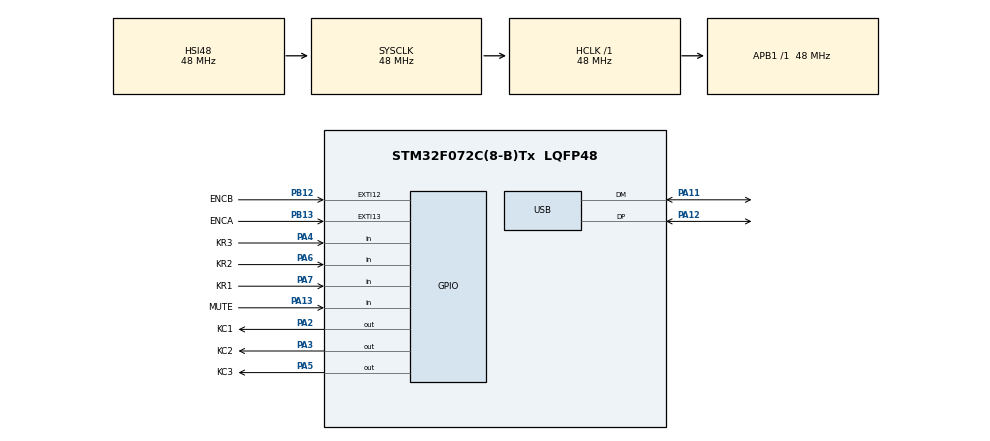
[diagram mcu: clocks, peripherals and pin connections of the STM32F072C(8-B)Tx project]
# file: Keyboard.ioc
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Mcu.Family=STM32F0
Mcu.Name=STM32F072C(8-B)Tx
Mcu.Package=LQFP48
NVIC.EXTI4_15_IRQn=true\:0\:0\:false\:false\:true\:true\:true\:true
NVIC.TIM2_IRQn=true\:0\:0\:false\:false\:true\:true\:true\:true
NVIC.USB_IRQn=true\:0\:0\:false\:false\:true\:false\:true\:true
PA11.Mode=Device
PA11.Signal=USB_DM
PA12.Mode=Device
PA12.Signal=USB_DP
PA13.GPIO_Label=MUTE
PA13.GPIO_PuPd=GPIO_PULLUP
PA13.Signal=GPIO_Input
PA2.GPIO_Label=KC1
PA2.Signal=GPIO_Output
PA3.GPIO_Label=KC2
PA3.Signal=GPIO_Output
PA4.GPIO_Label=KR3
PA4.GPIO_PuPd=GPIO_PULLDOWN
PA4.Signal=GPIO_Input
PA5.GPIO_Label=KC3
PA5.Signal=GPIO_Output
PA6.GPIO_Label=KR2
PA6.GPIO_PuPd=GPIO_PULLDOWN
PA6.Signal=GPIO_Input
PA7.GPIO_Label=KR1
PA7.GPIO_PuPd=GPIO_PULLDOWN
PA7.Signal=GPIO_Input
PB12.GPIO_Label=ENCB
PB12.GPIO_ModeDefaultEXTI=GPIO_MODE_IT_RISING_FALLING
PB12.GPIO_PuPd=GPIO_PULLUP
PB12.Signal=GPXTI12
PB13.GPIO_Label=ENCA
PB13.GPIO_ModeDefaultEXTI=GPIO_MODE_IT_RISING_FALLING
PB13.GPIO_PuPd=GPIO_PULLUP
PB13.Signal=GPXTI13
ProjectManager.HeapSize=0x200
ProjectManager.StackSize=0x400
ProjectManager.TargetToolchain=STM32CubeIDE
RCC.AHBFreq_Value=48000000
RCC.APB1Freq_Value=48000000
RCC.APB1TimFreq_Value=48000000
RCC.HCLKFreq_Value=48000000
RCC.SYSCLKFreq_VALUE=48000000
RCC.SYSCLKSource=RCC_SYSCLKSOURCE_HSI48
TIM2.AutoReloadPreload=TIM_AUTORELOAD_PRELOAD_DISABLE
TIM2.Period=99
TIM2.Prescaler=59
USB_DEVICE.CLASS_NAME_FS=HID
USB_DEVICE.PRODUCT_STRING_HID_FS=STM32 Keyboard
USB_DEVICE.VirtualMode=Hid
USB_DEVICE.VirtualModeFS=Hid_FS
VP_TIM2_VS_ClockSourceINT.Mode=Internal
VP_USB_DEVICE_VS_USB_DEVICE_HID_FS.Mode=HID_FS
board=custom

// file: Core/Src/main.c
/* USER CODE BEGIN Header */
/**
  ******************************************************************************
  * @file           : main.c
  * @brief          : Main program body
  ******************************************************************************
  * @attention
  *
  * Copyright (c) 2025 STMicroelectronics.
  * All rights reserved.
  *
  * This software is licensed under terms that can be found in the LICENSE file
  * in the root directory of this software component.
  * If no LICENSE file comes with this software, it is provided AS-IS.
  *
  ******************************************************************************
  */
/* USER CODE END Header */
#include "main.h"
#include "usb_device.h"

/* USER CODE BEGIN Includes */
#include "usbd_hid.h"

/* USER CODE END Includes */

/* USER CODE BEGIN PD */
// HID Keyboard usage IDs (normal keys)
#define KBD_INSERT   	0x49
#define KBD_HOME     	0x4A
#define KBD_PGUP     	0x4B
#define KBD_DELETE   	0x4C
#define KBD_END      	0x4D
#define KBD_PGDOWN  	0x4E

// HID Consumer usage IDs (media keys)
#define CONS_SCAN_NEXT   	0xB5  // Next Track
#define CONS_SCAN_PREV   	0xB6  // Previous Track
#define CONS_PLAY_PAUSE  	0xCD  // Play/Pause
#define CONS_STOP        	0xB7  // Stop
#define CONS_MUTE			0xE2
#define CONS_VOLUME_UP		0xE9
#define CONS_VOLUME_DOWN	0xEA

/* USER CODE END PD */

/* USER CODE BEGIN PM */
void scan_keys();

/* USER CODE END PM */

TIM_HandleTypeDef htim2;

/* USER CODE BEGIN PV */
volatile int8_t encoder_direction = 0; // +1 = CW, -1 = CCW
volatile int8_t last_encoder_state = 0;
/* USER CODE END PV */

void SystemClock_Config(void);
static void MX_GPIO_Init(void);
static void MX_TIM2_Init(void);

/* USER CODE BEGIN 0 */
extern USBD_HandleTypeDef hUsbDeviceFS;

uint8_t keyboardhid[9] = {0};   // Report ID + 8 bytes
uint8_t consumerhid[3] = {0};   // Report ID + 2 bytes

// Keyboard keys (Report ID 1)
const uint8_t keymap_kbd[2][3] = {
    {KBD_INSERT, KBD_HOME, KBD_PGUP},   // Row 2
    {KBD_DELETE, KBD_END,  KBD_PGDOWN}  // Row 3
};

// Consumer keys (Report ID 2)
const uint16_t keymap_cons[1][3] = {
    {CONS_SCAN_PREV, CONS_PLAY_PAUSE, CONS_SCAN_NEXT}  // Row 1
};

/* USER CODE END 0 */

int main(void)
{

  /* MCU Configuration--------------------------------------------------------*/

  /* Reset of all peripherals, Initializes the Flash interface and the Systick. */
  HAL_Init();

  /* Configure the system clock */
  SystemClock_Config();

  /* Initialize all configured peripherals */
  MX_GPIO_Init();
  MX_TIM2_Init();
  MX_USB_DEVICE_Init();

  /* Infinite loop */
  while (1)
  {

    /* USER CODE BEGIN 3 */
	scan_keys();
	HAL_Delay(50);
  }
  /* USER CODE END 3 */
}

void SystemClock_Config(void)
{
  RCC_OscInitTypeDef RCC_OscInitStruct = {0};
  RCC_ClkInitTypeDef RCC_ClkInitStruct = {0};
  RCC_PeriphCLKInitTypeDef PeriphClkInit = {0};

  /** Initializes the RCC Oscillators according to the specified parameters
  * in the RCC_OscInitTypeDef structure.
  */
  RCC_OscInitStruct.OscillatorType = RCC_OSCILLATORTYPE_HSI48;
  RCC_OscInitStruct.HSI48State = RCC_HSI48_ON;
  RCC_OscInitStruct.PLL.PLLState = RCC_PLL_NONE;
  if (HAL_RCC_OscConfig(&RCC_OscInitStruct) != HAL_OK)
  {
    Error_Handler();
  }

  /** Initializes the CPU, AHB and APB buses clocks
  */
  RCC_ClkInitStruct.ClockType = RCC_CLOCKTYPE_HCLK|RCC_CLOCKTYPE_SYSCLK
                              |RCC_CLOCKTYPE_PCLK1;
  RCC_ClkInitStruct.SYSCLKSource = RCC_SYSCLKSOURCE_HSI48;
  RCC_ClkInitStruct.AHBCLKDivider = RCC_SYSCLK_DIV1;
  RCC_ClkInitStruct.APB1CLKDivider = RCC_HCLK_DIV1;

  if (HAL_RCC_ClockConfig(&RCC_ClkInitStruct, FLASH_LATENCY_1) != HAL_OK)
  {
    Error_Handler();
  }
  PeriphClkInit.PeriphClockSelection = RCC_PERIPHCLK_USB;
  PeriphClkInit.UsbClockSelection = RCC_USBCLKSOURCE_HSI48;

  if (HAL_RCCEx_PeriphCLKConfig(&PeriphClkInit) != HAL_OK)
  {
    Error_Handler();
  }
}

static void MX_TIM2_Init(void)
{

  TIM_ClockConfigTypeDef sClockSourceConfig = {0};
  TIM_MasterConfigTypeDef sMasterConfig = {0};

  htim2.Instance = TIM2;
  htim2.Init.Prescaler = 59;
  htim2.Init.CounterMode = TIM_COUNTERMODE_UP;
  htim2.Init.Period = 99;
  htim2.Init.ClockDivision = TIM_CLOCKDIVISION_DIV1;
  htim2.Init.AutoReloadPreload = TIM_AUTORELOAD_PRELOAD_DISABLE;
  if (HAL_TIM_Base_Init(&htim2) != HAL_OK)
  {
    Error_Handler();
  }
  sClockSourceConfig.ClockSource = TIM_CLOCKSOURCE_INTERNAL;
  if (HAL_TIM_ConfigClockSource(&htim2, &sClockSourceConfig) != HAL_OK)
  {
    Error_Handler();
  }
  sMasterConfig.MasterOutputTrigger = TIM_TRGO_RESET;
  sMasterConfig.MasterSlaveMode = TIM_MASTERSLAVEMODE_DISABLE;
  if (HAL_TIMEx_MasterConfigSynchronization(&htim2, &sMasterConfig) != HAL_OK)
  {
    Error_Handler();
  }

}

static void MX_GPIO_Init(void)
{
  GPIO_InitTypeDef GPIO_InitStruct = {0};

  /* GPIO Ports Clock Enable */
  __HAL_RCC_GPIOA_CLK_ENABLE();
  __HAL_RCC_GPIOB_CLK_ENABLE();

  /*Configure GPIO pin Output Level */
  HAL_GPIO_WritePin(GPIOA, KC1_Pin|KC2_Pin|KC3_Pin, GPIO_PIN_RESET);

  /*Configure GPIO pins : KC1_Pin KC2_Pin KC3_Pin */
  GPIO_InitStruct.Pin = KC1_Pin|KC2_Pin|KC3_Pin;
  GPIO_InitStruct.Mode = GPIO_MODE_OUTPUT_PP;
  GPIO_InitStruct.Pull = GPIO_NOPULL;
  GPIO_InitStruct.Speed = GPIO_SPEED_FREQ_LOW;
  HAL_GPIO_Init(GPIOA, &GPIO_InitStruct);

  /*Configure GPIO pins : KR3_Pin KR2_Pin KR1_Pin */
  GPIO_InitStruct.Pin = KR3_Pin|KR2_Pin|KR1_Pin;
  GPIO_InitStruct.Mode = GPIO_MODE_INPUT;
  GPIO_InitStruct.Pull = GPIO_PULLDOWN;
  HAL_GPIO_Init(GPIOA, &GPIO_InitStruct);

  /*Configure GPIO pin : ENCB_Pin */
  GPIO_InitStruct.Pin = ENCB_Pin;
  GPIO_InitStruct.Mode = GPIO_MODE_IT_RISING_FALLING;
  GPIO_InitStruct.Pull = GPIO_PULLUP;
  HAL_GPIO_Init(ENCB_GPIO_Port, &GPIO_InitStruct);

  /*Configure GPIO pin : ENCA_Pin */
  GPIO_InitStruct.Pin = ENCA_Pin;
  GPIO_InitStruct.Mode = GPIO_MODE_IT_RISING_FALLING;
  GPIO_InitStruct.Pull = GPIO_PULLUP;
  HAL_GPIO_Init(ENCA_GPIO_Port, &GPIO_InitStruct);

  /*Configure GPIO pin : MUTE_Pin */
  GPIO_InitStruct.Pin = MUTE_Pin;
  GPIO_InitStruct.Mode = GPIO_MODE_INPUT;
  GPIO_InitStruct.Pull = GPIO_PULLUP;
  HAL_GPIO_Init(MUTE_GPIO_Port, &GPIO_InitStruct);

  /* EXTI interrupt init*/
  HAL_NVIC_SetPriority(EXTI4_15_IRQn, 0, 0);
  HAL_NVIC_EnableIRQ(EXTI4_15_IRQn);

}

/* USER CODE BEGIN 4 */

void send_consumer(uint16_t key) {
    consumerhid[0] = 0x02;           // Report ID for Consumer
    consumerhid[1] = key & 0xFF;
    consumerhid[2] = (key >> 8) & 0xFF;
    USBD_HID_SendReport(&hUsbDeviceFS, consumerhid, sizeof(consumerhid));
    HAL_Delay(1);
    memset(consumerhid, 0, sizeof(consumerhid));
    USBD_HID_SendReport(&hUsbDeviceFS, consumerhid, sizeof(consumerhid));
}

void HAL_GPIO_EXTI_Callback(uint16_t GPIO_Pin) {
    // Read both pins on any interrupt
    uint8_t a = HAL_GPIO_ReadPin(ENCA_GPIO_Port, ENCA_Pin);
    uint8_t b = HAL_GPIO_ReadPin(ENCB_GPIO_Port, ENCB_Pin);

    static uint8_t last_state = 0;
    uint8_t current_state = (a << 1) | b;
    int8_t movement = 0;

    // Quadrature decoding (4-bit transition)
    switch ((last_state << 2) | current_state) {
        case 0b0001:
        case 0b0111:
        case 0b1110:
        case 0b1000:
            movement = 1;  // Clockwise
            break;

        case 0b0010:
        case 0b1011:
        case 0b1101:
        case 0b0100:
            movement = -1; // Counter-clockwise
            break;

        default:
            movement = 0;  // No valid movement
            break;
    }

    encoder_direction += movement;  // Accumulate steps
    last_state = current_state;
}

void scan_keys(void)
{
    // Default = Report ID 1
    keyboardhid[0] = 0x01;
    keyboardhid[1] = 0x00; // Modifiers
    keyboardhid[2] = 0x00; // Reserved
    uint8_t kbd_count = 3;

    if (HAL_GPIO_ReadPin(GPIOA, MUTE_Pin) == GPIO_PIN_SET){
        consumerhid[0] = 0x02;                   // Report ID
        consumerhid[1] = CONS_MUTE & 0xFF;
        consumerhid[2] = (CONS_MUTE >> 8) & 0xFF;
        USBD_HID_SendReport(&hUsbDeviceFS, consumerhid, sizeof(consumerhid));
        HAL_Delay(1);
        memset(consumerhid, 0, sizeof(consumerhid));
        USBD_HID_SendReport(&hUsbDeviceFS, consumerhid, sizeof(consumerhid));
    }

    for (uint8_t col = 0; col < 3; ++col) {
        HAL_GPIO_WritePin(GPIOA, KC1_Pin|KC2_Pin|KC3_Pin, GPIO_PIN_RESET);
        if (col == 0) HAL_GPIO_WritePin(GPIOA, KC1_Pin, GPIO_PIN_SET);
        if (col == 1) HAL_GPIO_WritePin(GPIOA, KC2_Pin, GPIO_PIN_SET);
        if (col == 2) HAL_GPIO_WritePin(GPIOA, KC3_Pin, GPIO_PIN_SET);
        HAL_Delay(5);

        // --- Row 0 = Consumer control ---
        if (HAL_GPIO_ReadPin(GPIOA, KR1_Pin) == GPIO_PIN_SET) {
            consumerhid[0] = 0x02;                   // Report ID
            consumerhid[1] = keymap_cons[0][col] & 0xFF;
            consumerhid[2] = (keymap_cons[0][col] >> 8) & 0xFF;
            USBD_HID_SendReport(&hUsbDeviceFS, consumerhid, sizeof(consumerhid));
            HAL_Delay(50);
            memset(consumerhid, 0, sizeof(consumerhid));
            USBD_HID_SendReport(&hUsbDeviceFS, consumerhid, sizeof(consumerhid));
        }

        // --- Row 1 & 2 = Keyboard ---
        if (HAL_GPIO_ReadPin(GPIOA, KR2_Pin) == GPIO_PIN_SET) {
            keyboardhid[kbd_count++] = keymap_kbd[0][col];
        }
        if (HAL_GPIO_ReadPin(GPIOA, KR3_Pin) == GPIO_PIN_SET) {
            keyboardhid[kbd_count++] = keymap_kbd[1][col];
        }
    }

    while (encoder_direction != 0) {
        if (encoder_direction > 0) {
            send_consumer(CONS_VOLUME_UP);
            encoder_direction--;
        } else {
            send_consumer(CONS_VOLUME_DOWN);
            encoder_direction++;
        }
    }

    // Only send keyboard report if keys pressed
    if (kbd_count > 3) {
        USBD_HID_SendReport(&hUsbDeviceFS, keyboardhid, sizeof(keyboardhid));
        HAL_Delay(1);
        memset(keyboardhid, 0, sizeof(keyboardhid));
        keyboardhid[0] = 0x01;
        USBD_HID_SendReport(&hUsbDeviceFS, keyboardhid, sizeof(keyboardhid));
    }
}

/* USER CODE END 4 */

void Error_Handler(void)
{
  __disable_irq();
  while (1)
  {
  }
}
